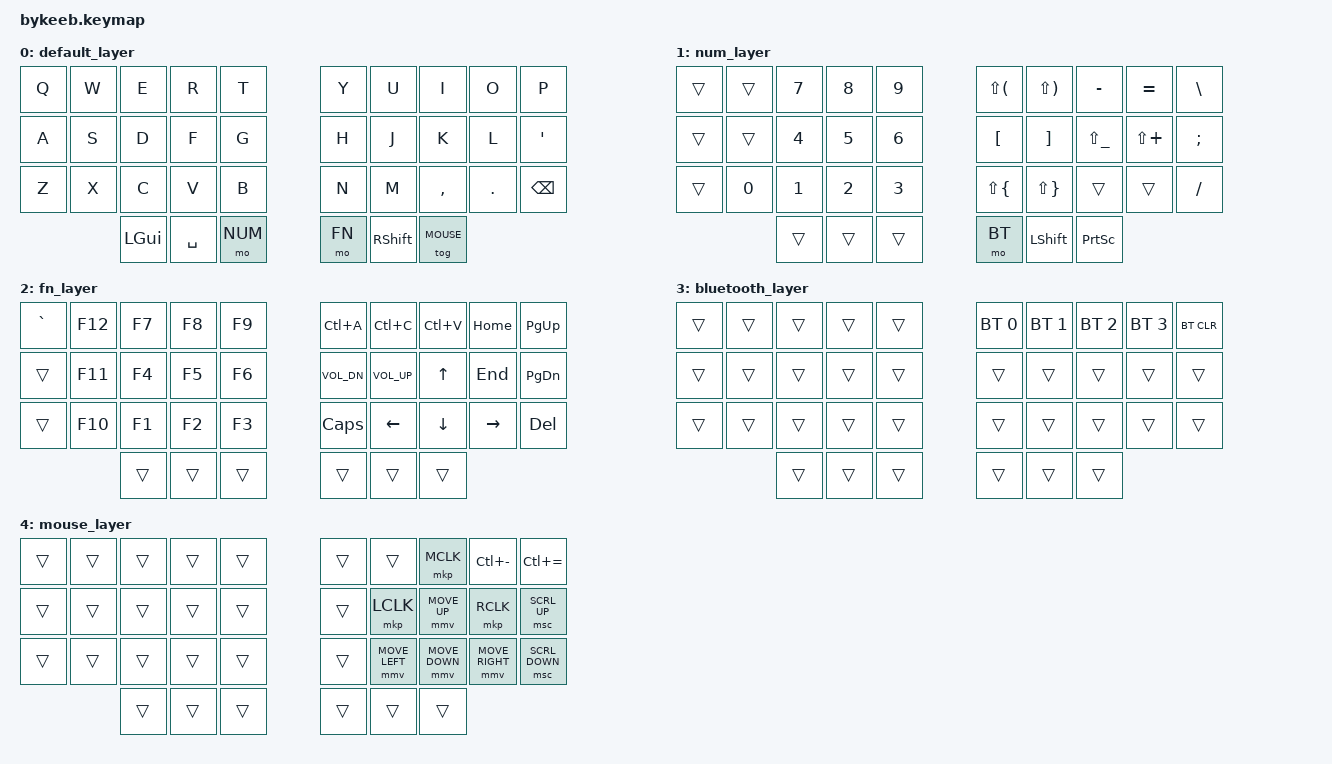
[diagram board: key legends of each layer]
/*
 * Copyright (c) 2020 The ZMK Contributors
 *
 * SPDX-License-Identifier: MIT
 */

 #include <behaviors.dtsi>
 #include <dt-bindings/zmk/keys.h>
 #include <dt-bindings/zmk/bt.h>
 #include <dt-bindings/zmk/ext_power.h>
 #include <dt-bindings/zmk/outputs.h>
 #include <dt-bindings/zmk/mouse.h>
 #include <behaviors/mouse_keys.dtsi>
 
 #define DEFAULT 0
 #define NUM     1
 #define FN      2
 #define BT      3
 #define MOUSE   4
 
 &caps_word {
     continue-list = <UNDERSCORE MINUS>;
 };

&sk {
  release-after-ms = <900>;
  quick-release;
};

&lt {
  flavor = "balanced";
  tapping-term-ms = <200>;
  quick-tap-ms = <175>;
};
 
 / {
    combos {
        compatible = "zmk,combos";
       esc {
            bindings = <&kp ESCAPE>;
            key-positions = <0 1>;
        };

        enter {
            bindings = <&kp ENTER>;
            key-positions = <27 28>;
            layers = <0>;
        };

        ctrl {
            bindings = <&sk RCTRL>;
            key-positions = <1 2>;
            layers = <0 1 2>;
        };

        tab {
            bindings = <&kp TAB>;
            key-positions = <10 11 12>;
            layers = <0>;
        };

        alt {
            bindings = <&kp LEFT_ALT>;
            key-positions = <17 18>;
            layers = <0>;
        };
    };
};
 
 / {
     behaviors {
         hm: homerow_mods {
             compatible = "zmk,behavior-hold-tap";
             #binding-cells = <2>;
             tapping-term-ms = <200>;
             flavor = "tap-preferred";
             bindings = <&kp>, <&kp>;
         };
         hs: homerow_shift {
             compatible = "zmk,behavior-hold-tap";
             #binding-cells = <2>;
             tapping-term-ms = <175>;
             flavor = "balanced";
             bindings = <&kp>, <&kp>;
         };
     };
 
     keymap {
         compatible = "zmk,keymap";
 
         default_layer {
             bindings = <
     &kp Q        &kp W        &kp E       &kp R         &kp T                                       &kp Y         &kp U        &kp I         &kp O       &kp P
     &kp A        &kp S        &kp D       &kp F         &kp G                                       &kp H         &kp J        &kp K         &kp L       &kp SQT
     &kp Z        &kp X        &kp C       &kp V         &kp B                                       &kp N         &kp M        &kp COMMA     &kp DOT     &kp BSPC
                                           &kp LGUI      &kp SPACE  &mo NUM                          &mo FN   &kp RIGHT_SHIFT &tog MOUSE
             >;
         };
 
         num_layer {
             bindings = <
     &trans       &trans       &kp N7      &kp N8        &kp N9                                     &kp LS(LPAR)  &kp LS(RPAR) &kp MINUS      &kp EQUAL     &kp BSLH
     &trans       &trans       &kp N4      &kp N5        &kp N6                                     &kp LBKT      &kp RBKT     &kp LS(UNDER)  &kp LS(PLUS)  &kp SEMI
     &trans       &kp N0       &kp N1      &kp N2        &kp N3                                     &kp LS(LBRC)  &kp LS(RBRC) &trans         &trans        &kp FSLH
                                           &trans        &trans       &trans       &mo BT         &kp LSHFT     &kp PRINTSCREEN
             >;
         };
 
         fn_layer {
             bindings = <
     &kp GRAVE   &kp F12       &kp F7     &kp F8         &kp F9                                    &kp LC(A)     &kp LC(C)     &kp LC(V)    &kp HOME      &kp PG_UP
     &trans      &kp F11       &kp F4     &kp F5         &kp F6                                    &kp C_VOL_DN  &kp C_VOL_UP  &kp UP       &kp END       &kp PG_DN
     &trans      &kp F10       &kp F1     &kp F2         &kp F3                                    &kp CAPS      &kp LEFT      &kp DOWN     &kp RIGHT        &kp DEL
                                          &trans         &trans       &trans        &trans         &trans        &trans
             >;
         };
 
         bluetooth_layer {
             bindings = <
     &trans     &trans         &trans     &trans         &trans                                    &bt BT_SEL 0  &bt BT_SEL 1   &bt BT_SEL 2  &bt BT_SEL 3  &bt BT_CLR
     &trans     &trans         &trans     &trans         &trans                                    &trans        &trans         &trans        &trans        &trans
     &trans     &trans         &trans     &trans         &trans                                    &trans        &trans         &trans        &trans        &trans
                                          &trans        &trans        &trans       &trans          &trans       &trans
             >;
         };
 
         mouse_layer {
             bindings = <
     &trans       &trans        &trans       &trans        &trans                                     &trans    &trans          &mkp MCLK        &kp LC(MINUS)    &kp LC(EQUAL)
     &trans       &trans        &trans       &trans        &trans                                     &trans    &mkp LCLK       &mmv MOVE_UP     &mkp RCLK        &msc SCRL_UP
     &trans       &trans        &trans       &trans        &trans                                     &trans    &mmv MOVE_LEFT  &mmv MOVE_DOWN   &mmv MOVE_RIGHT  &msc SCRL_DOWN
                                             &trans        &trans        &trans        &trans         &trans        &trans
             >;
         };

     };
 };
 
